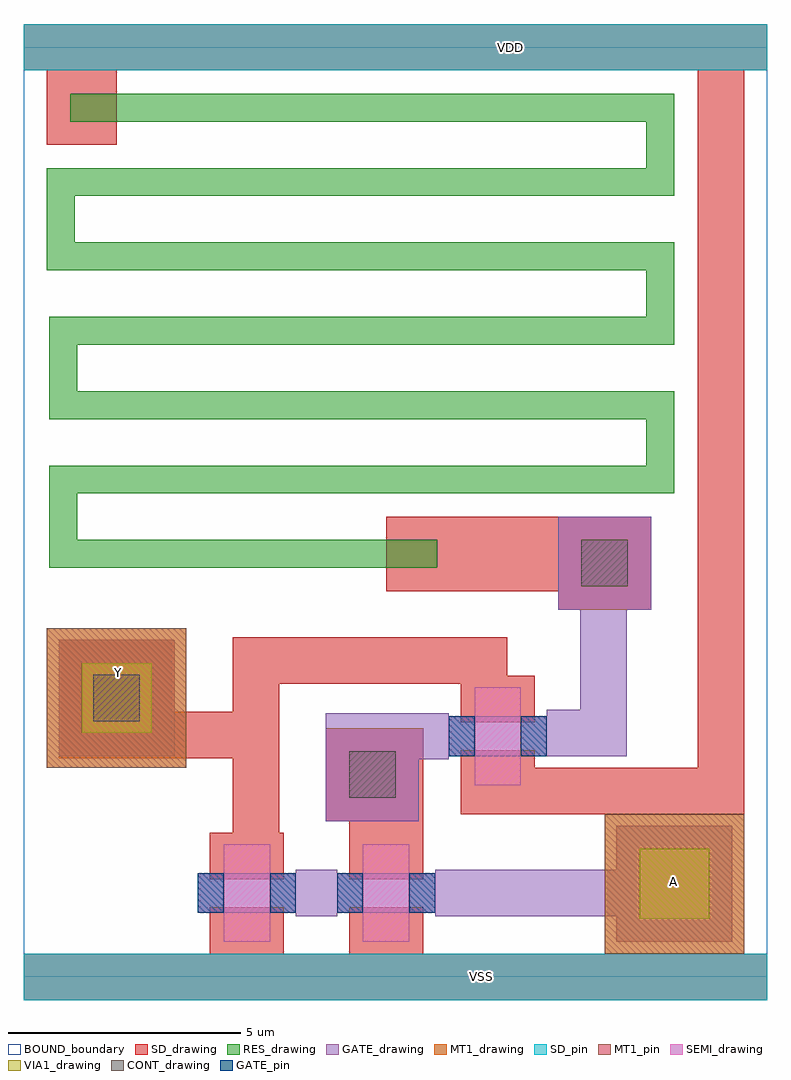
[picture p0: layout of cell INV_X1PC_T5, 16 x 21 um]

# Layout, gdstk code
from math import pi, radians
import gdstk
lib = gdstk.Library(unit=1e-6, precision=1e-09)
def R(c, l, rs):  # rectangles x0, y0, x1, y1
    for r in rs: c.add(gdstk.rectangle(r[:2], r[2:], *l))
def P(c, l, *ps):  # polygons
    for p in ps: c.add(gdstk.Polygon(p, *l))
RES_drawing = (1, 0)
SEMI_drawing = (3, 0)
SD_drawing = (10, 0)
SD_pin = (10, 3)
GATE_drawing = (11, 0)
GATE_pin = (11, 3)
MT1_drawing = (20, 0)
MT1_pin = (20, 3)
CONT_drawing = (30, 0)
VIA1_drawing = (41, 0)
BOUND_boundary = (150, 5)

nch_cdns_772544912830 = lib.new_cell('nch_CDNS_772544912830')
R(nch_cdns_772544912830, SEMI_drawing, [(-1.05,-0.5,1.05,0.5)])
R(nch_cdns_772544912830, SD_drawing, [(-1.3,-0.8,-0.3,0.8), (0.3,-0.8,1.3,0.8)])
R(nch_cdns_772544912830, GATE_drawing, [(-0.425,-1.05,0.425,1.05)])
R(nch_cdns_772544912830, GATE_pin, [(-0.425,-1.05,0.425,-0.5), (-0.425,0.5,0.425,1.05)])

gate_mt1_cdns_7725449128 = lib.new_cell('GATE_MT1_CDNS_772544912830')
R(gate_mt1_cdns_7725449128, GATE_drawing, [(-1.25,-1.25,1.25,1.25)])
R(gate_mt1_cdns_7725449128, MT1_drawing, [(-1.25,-1.25,1.25,1.25)])
R(gate_mt1_cdns_7725449128, VIA1_drawing, [(-0.75,-0.75,0.75,0.75)])

sd_gate_cdns_77254491283 = lib.new_cell('SD_GATE_CDNS_772544912831')
R(sd_gate_cdns_77254491283, SD_drawing, [(-1,-1,1,1)])
R(sd_gate_cdns_77254491283, GATE_drawing, [(-1,-1,1,1)])
R(sd_gate_cdns_77254491283, CONT_drawing, [(-0.5,-0.5,0.5,0.5)])

c_sd_gate_cdns_77254491283 = lib.new_cell('SD_GATE_CDNS_772544912832')
R(c_sd_gate_cdns_77254491283, SD_drawing, [(-1.25,-1.25,1.25,1.25)])
R(c_sd_gate_cdns_77254491283, GATE_drawing, [(-1.25,-1.25,1.25,1.25)])
R(c_sd_gate_cdns_77254491283, CONT_drawing, [(-0.5,-0.5,0.5,0.5)])

gate_mt1_stack_cdns_7725 = lib.new_cell('GATE_MT1_STACK_CDNS_772544912833')
R(gate_mt1_stack_cdns_7725, GATE_drawing, [(-1.25,-1.25,1.25,1.25)])
R(gate_mt1_stack_cdns_7725, MT1_drawing, [(-1.5,-1.5,1.5,1.5)])
R(gate_mt1_stack_cdns_7725, VIA1_drawing, [(-0.75,-0.75,0.75,0.75)])

inv_x1pc_t5 = lib.new_cell('INV_X1PC_T5')
R(inv_x1pc_t5, SD_drawing, [(0,-0.5,16,0.5), (14.5,5.9,15.5,19.5), (7.8,8.3,11.5,9.9), (0.5,17.9,2,19.5), (0,19.5,16,20.5)])
R(inv_x1pc_t5, SD_pin, [(0,-0.5,16,0.5), (0,19.5,16,20.5)])
P(inv_x1pc_t5, GATE_drawing, [(5.95,1.3),(5.95,2.3),(5.85,2.3),(5.85,2.175),(5.8,2.175),(5.8,1.425),(5.85,1.425),(5.85,1.3)],
  [(8.95,1.3),(8.95,2.3),(8.85,2.3),(8.85,2.175),(8.8,2.175),(8.8,1.425),(8.85,1.425),(8.85,1.3)],
  [(6.65,2.3),(6.65,1.3),(6.75,1.3),(6.75,1.425),(6.8,1.425),(6.8,2.175),(6.75,2.175),(6.75,2.3)],
  [(11.35,4.75),(11.35,5.75),(11.25,5.75),(11.25,5.525),(11.2,5.525),(11.2,4.775),(11.25,4.775),(11.25,4.75)],
  [(9.05,5.675),(9.05,4.675),(9.15,4.675),(9.15,4.8),(9.2,4.8),(9.2,5.55),(9.15,5.55),(9.15,5.675)])
R(inv_x1pc_t5, MT1_drawing, [(12.5,0.5,15.5,3.5), (0.5,4.5,3.5,7.5)])
R(inv_x1pc_t5, MT1_pin, [(12.5,0.5,15.5,3.5), (0.5,4.5,3.5,7.5)])
R(inv_x1pc_t5, BOUND_boundary, [(0,0,16,20)])
inv_x1pc_t5.add(gdstk.FlexPath([(6.5,5.175),(9.05,5.175)], 1, ends="flush", simple_path=True, layer=11, datatype=0))  # GATE_drawing
inv_x1pc_t5.add(gdstk.FlexPath([(11.35,5.25),(12.475,5.25)], 1, ends=(0, 0.5), simple_path=True, layer=11, datatype=0))  # GATE_drawing
inv_x1pc_t5.add(gdstk.FlexPath([(8.95,1.8),(12.85,1.8)], 1, ends="flush", simple_path=True, layer=11, datatype=0))  # GATE_drawing
inv_x1pc_t5.add(gdstk.FlexPath([(12.475,5.25),(12.475,7.95)], 1, ends=(0.5, 0), simple_path=True, layer=11, datatype=0))  # GATE_drawing
inv_x1pc_t5.add(gdstk.FlexPath([(14,1.8),(14,2.025)], 1, ends=(0.5, 0), simple_path=True, layer=11, datatype=0))  # GATE_drawing
inv_x1pc_t5.add(gdstk.FlexPath([(5.95,1.8),(6.65,1.8)], 1, ends="flush", simple_path=True, layer=11, datatype=0))  # GATE_drawing
inv_x1pc_t5.add(gdstk.FlexPath([(15,4),(15,19.5)], 1, ends=(0.5, 0), simple_path=True, layer=10, datatype=0))  # SD_drawing
inv_x1pc_t5.add(gdstk.FlexPath([(5,5.2),(0.75,5.2)], 1, ends=(0.5, 0), simple_path=True, layer=10, datatype=0))  # SD_drawing
inv_x1pc_t5.add(gdstk.FlexPath([(9.9,6.4),(9.9,6.8)], 1, ends=(0, 0.5), simple_path=True, layer=10, datatype=0))  # SD_drawing
inv_x1pc_t5.add(gdstk.FlexPath([(7.8,3.1),(7.8,5.35)], 1.6, ends="flush", simple_path=True, layer=10, datatype=0))  # SD_drawing
inv_x1pc_t5.add(gdstk.FlexPath([(9.4,4),(15,4)], 1, ends=(0, 0.5), simple_path=True, layer=10, datatype=0))  # SD_drawing
inv_x1pc_t5.add(gdstk.FlexPath([(5,3.1),(5,5.2)], 1, ends=(0, 0.5), simple_path=True, layer=10, datatype=0))  # SD_drawing
inv_x1pc_t5.add(gdstk.FlexPath([(9.9,6.8),(5,6.8)], 1, ends="extended", simple_path=True, layer=10, datatype=0))  # SD_drawing
inv_x1pc_t5.add(gdstk.FlexPath([(5,6.8),(5,5.7)], 1, ends=(0.5, 0), simple_path=True, layer=10, datatype=0))  # SD_drawing
inv_x1pc_t5.add(gdstk.FlexPath([(8.9,9.1),(0.85,9.1),(0.85,10.7),(13.7,10.7),(13.7,12.3),(0.85,12.3),(0.85,13.9),(13.7,13.9),(13.7,15.5),(0.8,15.5),(0.8,17.1),(13.7,17.1),(13.7,18.7),(1,18.7)], 0.6, ends="flush", simple_path=True, layer=1, datatype=0))  # RES_drawing
inv_x1pc_t5.add(gdstk.Reference(nch_cdns_772544912830, (10.2,5.175), rotation=3*pi/2, x_reflection=True))
inv_x1pc_t5.add(gdstk.Reference(nch_cdns_772544912830, (4.8,1.8), rotation=pi/2))
inv_x1pc_t5.add(gdstk.Reference(nch_cdns_772544912830, (7.8,1.8), rotation=pi/2))
inv_x1pc_t5.add(gdstk.Reference(gate_mt1_cdns_7725449128, (2,6)))
inv_x1pc_t5.add(gdstk.Reference(sd_gate_cdns_77254491283, (12.5,8.9)))
inv_x1pc_t5.add(gdstk.Reference(sd_gate_cdns_77254491283, (7.5,4.35)))
inv_x1pc_t5.add(gdstk.Reference(c_sd_gate_cdns_77254491283, (2,6)))
inv_x1pc_t5.add(gdstk.Reference(gate_mt1_stack_cdns_7725, (14,2)))
inv_x1pc_t5.add(gdstk.Label('VDD', (10.475,20), layer=10, texttype=3))
inv_x1pc_t5.add(gdstk.Label('VSS', (9.85,0), layer=10, texttype=3))
inv_x1pc_t5.add(gdstk.Label('Y', (2.05,6.55), layer=20, texttype=3))
inv_x1pc_t5.add(gdstk.Label('A', (13.975,2.05), layer=20, texttype=3))
inv_x1pc_t5.add(gdstk.Label('A', (14.075,2.25), layer=20, texttype=3))

lib.write_gds('INV_X1PC_T5.gds')
